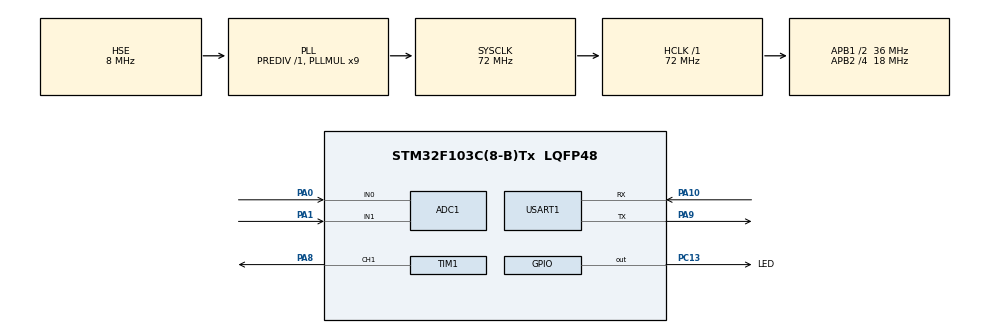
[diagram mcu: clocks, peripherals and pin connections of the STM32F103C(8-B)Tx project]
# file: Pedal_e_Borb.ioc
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ADC1.Channel-0\#ChannelRegularConversion=ADC_CHANNEL_0
ADC1.Channel-1\#ChannelRegularConversion=ADC_CHANNEL_1
ADC1.ContinuousConvMode=ENABLE
ADC1.NbrOfConversion=2
ADC1.NbrOfConversionFlag=1
ADC1.Rank-0\#ChannelRegularConversion=1
ADC1.Rank-1\#ChannelRegularConversion=2
ADC1.SamplingTime-0\#ChannelRegularConversion=ADC_SAMPLETIME_71CYCLES_5
ADC1.SamplingTime-1\#ChannelRegularConversion=ADC_SAMPLETIME_71CYCLES_5
ADC1.master=1
Dma.ADC1.0.Direction=DMA_PERIPH_TO_MEMORY
Dma.ADC1.0.Instance=DMA1_Channel1
Dma.ADC1.0.MemDataAlignment=DMA_MDATAALIGN_HALFWORD
Dma.ADC1.0.MemInc=DMA_MINC_ENABLE
Dma.ADC1.0.Mode=DMA_CIRCULAR
Dma.ADC1.0.PeriphDataAlignment=DMA_PDATAALIGN_HALFWORD
Dma.ADC1.0.PeriphInc=DMA_PINC_DISABLE
Dma.ADC1.0.Priority=DMA_PRIORITY_LOW
Dma.Request0=ADC1
Mcu.Family=STM32F1
Mcu.Name=STM32F103C(8-B)Tx
Mcu.Package=LQFP48
NVIC.DMA1_Channel1_IRQn=true\:0\:0\:false\:false\:true\:false\:true\:true
NVIC.PriorityGroup=NVIC_PRIORITYGROUP_4
PA0-WKUP.Signal=ADCx_IN0
PA1.Signal=ADCx_IN1
PA10.Mode=Asynchronous
PA10.Signal=USART1_RX
PA8.Signal=S_TIM1_CH1
PA9.Mode=Asynchronous
PA9.Signal=USART1_TX
PC13-TAMPER-RTC.GPIO_Label=LED
PC13-TAMPER-RTC.Signal=GPIO_Output
PD0-OSC_IN.Mode=HSE-External-Oscillator
PD0-OSC_IN.Signal=RCC_OSC_IN
PD1-OSC_OUT.Mode=HSE-External-Oscillator
PD1-OSC_OUT.Signal=RCC_OSC_OUT
ProjectManager.HeapSize=0x200
ProjectManager.StackSize=0x400
ProjectManager.TargetToolchain=STM32CubeIDE
RCC.AHBFreq_Value=72000000
RCC.APB1CLKDivider=RCC_HCLK_DIV2
RCC.APB1Freq_Value=36000000
RCC.APB1TimFreq_Value=72000000
RCC.APB2CLKDivider=RCC_HCLK_DIV4
RCC.APB2Freq_Value=18000000
RCC.APB2TimFreq_Value=36000000
RCC.HCLKFreq_Value=72000000
RCC.PLLMUL=RCC_PLL_MUL9
RCC.PLLSourceVirtual=RCC_PLLSOURCE_HSE
RCC.SYSCLKFreq_VALUE=72000000
RCC.SYSCLKSource=RCC_SYSCLKSOURCE_PLLCLK
RCC.USBFreq_Value=72000000
SH.ADCx_IN0.0=ADC1_IN0,IN0
SH.ADCx_IN1.0=ADC1_IN1,IN1
SH.S_TIM1_CH1.0=TIM1_CH1,PWM Generation1 CH1
TIM1.Channel-PWM\ Generation1\ CH1=TIM_CHANNEL_1
TIM1.Period=999
TIM1.Prescaler=71
USART1.VirtualMode=VM_ASYNC
VP_SYS_VS_ND.Mode=No_Debug
VP_TIM1_VS_ClockSourceINT.Mode=Internal
VP_TIM1_VS_ClockSourceITR.Mode=TriggerSource_ITR0
board=custom

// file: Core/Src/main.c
/* USER CODE BEGIN Header */
/**
  ******************************************************************************
  * @file           : main.c
  * @brief          : Main program body
  ******************************************************************************
  * @attention
  *
  * Copyright (c) 2025 STMicroelectronics.
  * All rights reserved.
  *
  * This software is licensed under terms that can be found in the LICENSE file
  * in the root directory of this software component.
  * If no LICENSE file comes with this software, it is provided AS-IS.
  *
  ******************************************************************************
  */
/* USER CODE END Header */
#include "main.h"

/* USER CODE BEGIN Includes */
#include "stdio.h"
#include "string.h"
/* USER CODE END Includes */

/* USER CODE BEGIN PD */
#define alpha 0.5
/* USER CODE END PD */

ADC_HandleTypeDef hadc1;
DMA_HandleTypeDef hdma_adc1;

TIM_HandleTypeDef htim1;

UART_HandleTypeDef huart1;

/* USER CODE BEGIN PV */
uint16_t ADCBuffer[2];
uint16_t pedal1_raw;
uint16_t pedal2_raw;
uint16_t pedal1_filt;
uint16_t pedal2_filt;
float volt_Pedal1;
float volt_Pedal2;
uint16_t Ref_PWM;
float Saida_IIR;
float saida_ant;
float saida_ant2;
float delta_pedal;
char mensagem[50];

/* USER CODE END PV */

void SystemClock_Config(void);
static void MX_GPIO_Init(void);
static void MX_DMA_Init(void);
static void MX_ADC1_Init(void);
static void MX_TIM1_Init(void);
static void MX_USART1_UART_Init(void);

int main(void)
{

  /* MCU Configuration--------------------------------------------------------*/

  /* Reset of all peripherals, Initializes the Flash interface and the Systick. */
  HAL_Init();

  /* Configure the system clock */
  SystemClock_Config();

  /* Initialize all configured peripherals */
  MX_GPIO_Init();
  MX_DMA_Init();
  MX_ADC1_Init();
  MX_TIM1_Init();
  MX_USART1_UART_Init();
  /* USER CODE BEGIN 2 */
  HAL_ADCEx_Calibration_Start(&hadc1);
  // Inicia o ADC no Modo DMA para multiplos canais
  HAL_ADC_Start_DMA(&hadc1, ADCBuffer, 2);
  HAL_TIM_PWM_Start(&htim1, TIM_CHANNEL_1);

  Ref_PWM=100;
  /* USER CODE END 2 */

  /* Infinite loop */
  while (1)
  {

    /* USER CODE BEGIN 3 */
	  //************ PEDAL 1 *******************
	  pedal1_raw = ADCBuffer[0];
	  Saida_IIR = (alpha*(float)ADCBuffer[0])+((1-alpha)*saida_ant);
	  saida_ant = Saida_IIR;
	  pedal1_filt = (uint16_t)(Saida_IIR);
	  volt_Pedal1 = (float)(pedal1_filt*0.0012210012210012);

	  //************ PEDAL 2 *******************
	  pedal2_raw = ADCBuffer[1];
	  Saida_IIR = alpha*(float)ADCBuffer[1]+(1-alpha)*saida_ant2;
	  saida_ant2 = Saida_IIR;
	  pedal2_filt = (uint16_t)(Saida_IIR);
	  volt_Pedal2 = (float)(pedal2_filt*0.0012210012210012);

	  //************* REDEUNDANCIA E PWM **************
	  delta_pedal = volt_Pedal2-volt_Pedal1;
	  if((delta_pedal>1.8)&&(delta_pedal<2.2))
	  {
		  //volt_Pedal1 0.5 até 2 volts
		  Ref_PWM = ((pedal1_filt*(5000/4095))-500)*0.666;
	  }
	  TIM1->CCR1 = Ref_PWM; //Atualiza o valor do comparador

	 //************* ESCREVE NA UART ***********************
	  sprintf(mensagem, "VOLT PEDAL 1 = %.2f\r\n",volt_Pedal1);
	  HAL_UART_Transmit(&huart1, (uint8_t*)mensagem, strlen(mensagem), 50);
	  sprintf(mensagem, "VOLT PEDAL 2 = %.2f\r\n",volt_Pedal2);
	  HAL_UART_Transmit(&huart1, (uint8_t*)mensagem, strlen(mensagem), 50);
	  sprintf(mensagem, "VALOR PWM = %d\r\n",Ref_PWM);
	  HAL_UART_Transmit(&huart1, (uint8_t*)mensagem, strlen(mensagem), 50);
	  sprintf(mensagem, "ADC0 RAW = %d\r\n",pedal1_raw);
	  HAL_UART_Transmit(&huart1, (uint8_t*)mensagem, strlen(mensagem), 50);
	  sprintf(mensagem, "ADC1 RAW = %d\r\n",pedal2_raw);
	  HAL_UART_Transmit(&huart1, (uint8_t*)mensagem, strlen(mensagem), 50);

	  HAL_Delay(200);

  }
  /* USER CODE END 3 */
}

void SystemClock_Config(void)
{
  RCC_OscInitTypeDef RCC_OscInitStruct = {0};
  RCC_ClkInitTypeDef RCC_ClkInitStruct = {0};
  RCC_PeriphCLKInitTypeDef PeriphClkInit = {0};

  /** Initializes the RCC Oscillators according to the specified parameters
  * in the RCC_OscInitTypeDef structure.
  */
  RCC_OscInitStruct.OscillatorType = RCC_OSCILLATORTYPE_HSE;
  RCC_OscInitStruct.HSEState = RCC_HSE_ON;
  RCC_OscInitStruct.HSEPredivValue = RCC_HSE_PREDIV_DIV1;
  RCC_OscInitStruct.HSIState = RCC_HSI_ON;
  RCC_OscInitStruct.PLL.PLLState = RCC_PLL_ON;
  RCC_OscInitStruct.PLL.PLLSource = RCC_PLLSOURCE_HSE;
  RCC_OscInitStruct.PLL.PLLMUL = RCC_PLL_MUL9;
  if (HAL_RCC_OscConfig(&RCC_OscInitStruct) != HAL_OK)
  {
    Error_Handler();
  }

  /** Initializes the CPU, AHB and APB buses clocks
  */
  RCC_ClkInitStruct.ClockType = RCC_CLOCKTYPE_HCLK|RCC_CLOCKTYPE_SYSCLK
                              |RCC_CLOCKTYPE_PCLK1|RCC_CLOCKTYPE_PCLK2;
  RCC_ClkInitStruct.SYSCLKSource = RCC_SYSCLKSOURCE_PLLCLK;
  RCC_ClkInitStruct.AHBCLKDivider = RCC_SYSCLK_DIV1;
  RCC_ClkInitStruct.APB1CLKDivider = RCC_HCLK_DIV2;
  RCC_ClkInitStruct.APB2CLKDivider = RCC_HCLK_DIV4;

  if (HAL_RCC_ClockConfig(&RCC_ClkInitStruct, FLASH_LATENCY_2) != HAL_OK)
  {
    Error_Handler();
  }
  PeriphClkInit.PeriphClockSelection = RCC_PERIPHCLK_ADC;
  PeriphClkInit.AdcClockSelection = RCC_ADCPCLK2_DIV2;
  if (HAL_RCCEx_PeriphCLKConfig(&PeriphClkInit) != HAL_OK)
  {
    Error_Handler();
  }
}

static void MX_ADC1_Init(void)
{

  ADC_ChannelConfTypeDef sConfig = {0};

  /** Common config
  */
  hadc1.Instance = ADC1;
  hadc1.Init.ScanConvMode = ADC_SCAN_ENABLE;
  hadc1.Init.ContinuousConvMode = ENABLE;
  hadc1.Init.DiscontinuousConvMode = DISABLE;
  hadc1.Init.ExternalTrigConv = ADC_SOFTWARE_START;
  hadc1.Init.DataAlign = ADC_DATAALIGN_RIGHT;
  hadc1.Init.NbrOfConversion = 2;
  if (HAL_ADC_Init(&hadc1) != HAL_OK)
  {
    Error_Handler();
  }

  /** Configure Regular Channel
  */
  sConfig.Channel = ADC_CHANNEL_0;
  sConfig.Rank = ADC_REGULAR_RANK_1;
  sConfig.SamplingTime = ADC_SAMPLETIME_71CYCLES_5;
  if (HAL_ADC_ConfigChannel(&hadc1, &sConfig) != HAL_OK)
  {
    Error_Handler();
  }

  /** Configure Regular Channel
  */
  sConfig.Channel = ADC_CHANNEL_1;
  sConfig.Rank = ADC_REGULAR_RANK_2;
  if (HAL_ADC_ConfigChannel(&hadc1, &sConfig) != HAL_OK)
  {
    Error_Handler();
  }

}

static void MX_TIM1_Init(void)
{

  TIM_ClockConfigTypeDef sClockSourceConfig = {0};
  TIM_SlaveConfigTypeDef sSlaveConfig = {0};
  TIM_MasterConfigTypeDef sMasterConfig = {0};
  TIM_OC_InitTypeDef sConfigOC = {0};
  TIM_BreakDeadTimeConfigTypeDef sBreakDeadTimeConfig = {0};

  htim1.Instance = TIM1;
  htim1.Init.Prescaler = 71;
  htim1.Init.CounterMode = TIM_COUNTERMODE_UP;
  htim1.Init.Period = 999;
  htim1.Init.ClockDivision = TIM_CLOCKDIVISION_DIV1;
  htim1.Init.RepetitionCounter = 0;
  htim1.Init.AutoReloadPreload = TIM_AUTORELOAD_PRELOAD_DISABLE;
  if (HAL_TIM_Base_Init(&htim1) != HAL_OK)
  {
    Error_Handler();
  }
  sClockSourceConfig.ClockSource = TIM_CLOCKSOURCE_INTERNAL;
  if (HAL_TIM_ConfigClockSource(&htim1, &sClockSourceConfig) != HAL_OK)
  {
    Error_Handler();
  }
  if (HAL_TIM_PWM_Init(&htim1) != HAL_OK)
  {
    Error_Handler();
  }
  sSlaveConfig.SlaveMode = TIM_SLAVEMODE_DISABLE;
  sSlaveConfig.InputTrigger = TIM_TS_ITR0;
  if (HAL_TIM_SlaveConfigSynchro(&htim1, &sSlaveConfig) != HAL_OK)
  {
    Error_Handler();
  }
  sMasterConfig.MasterOutputTrigger = TIM_TRGO_RESET;
  sMasterConfig.MasterSlaveMode = TIM_MASTERSLAVEMODE_DISABLE;
  if (HAL_TIMEx_MasterConfigSynchronization(&htim1, &sMasterConfig) != HAL_OK)
  {
    Error_Handler();
  }
  sConfigOC.OCMode = TIM_OCMODE_PWM1;
  sConfigOC.Pulse = 0;
  sConfigOC.OCPolarity = TIM_OCPOLARITY_HIGH;
  sConfigOC.OCNPolarity = TIM_OCNPOLARITY_HIGH;
  sConfigOC.OCFastMode = TIM_OCFAST_DISABLE;
  sConfigOC.OCIdleState = TIM_OCIDLESTATE_RESET;
  sConfigOC.OCNIdleState = TIM_OCNIDLESTATE_RESET;
  if (HAL_TIM_PWM_ConfigChannel(&htim1, &sConfigOC, TIM_CHANNEL_1) != HAL_OK)
  {
    Error_Handler();
  }
  sBreakDeadTimeConfig.OffStateRunMode = TIM_OSSR_DISABLE;
  sBreakDeadTimeConfig.OffStateIDLEMode = TIM_OSSI_DISABLE;
  sBreakDeadTimeConfig.LockLevel = TIM_LOCKLEVEL_OFF;
  sBreakDeadTimeConfig.DeadTime = 0;
  sBreakDeadTimeConfig.BreakState = TIM_BREAK_DISABLE;
  sBreakDeadTimeConfig.BreakPolarity = TIM_BREAKPOLARITY_HIGH;
  sBreakDeadTimeConfig.AutomaticOutput = TIM_AUTOMATICOUTPUT_DISABLE;
  if (HAL_TIMEx_ConfigBreakDeadTime(&htim1, &sBreakDeadTimeConfig) != HAL_OK)
  {
    Error_Handler();
  }
  HAL_TIM_MspPostInit(&htim1);

}

static void MX_USART1_UART_Init(void)
{

  huart1.Instance = USART1;
  huart1.Init.BaudRate = 115200;
  huart1.Init.WordLength = UART_WORDLENGTH_8B;
  huart1.Init.StopBits = UART_STOPBITS_1;
  huart1.Init.Parity = UART_PARITY_NONE;
  huart1.Init.Mode = UART_MODE_TX_RX;
  huart1.Init.HwFlowCtl = UART_HWCONTROL_NONE;
  huart1.Init.OverSampling = UART_OVERSAMPLING_16;
  if (HAL_UART_Init(&huart1) != HAL_OK)
  {
    Error_Handler();
  }

}

static void MX_DMA_Init(void)
{

  /* DMA controller clock enable */
  __HAL_RCC_DMA1_CLK_ENABLE();

  /* DMA interrupt init */
  /* DMA1_Channel1_IRQn interrupt configuration */
  HAL_NVIC_SetPriority(DMA1_Channel1_IRQn, 0, 0);
  HAL_NVIC_EnableIRQ(DMA1_Channel1_IRQn);

}

static void MX_GPIO_Init(void)
{
  GPIO_InitTypeDef GPIO_InitStruct = {0};

  /* GPIO Ports Clock Enable */
  __HAL_RCC_GPIOC_CLK_ENABLE();
  __HAL_RCC_GPIOD_CLK_ENABLE();
  __HAL_RCC_GPIOA_CLK_ENABLE();

  /*Configure GPIO pin Output Level */
  HAL_GPIO_WritePin(LED_GPIO_Port, LED_Pin, GPIO_PIN_RESET);

  /*Configure GPIO pin : LED_Pin */
  GPIO_InitStruct.Pin = LED_Pin;
  GPIO_InitStruct.Mode = GPIO_MODE_OUTPUT_PP;
  GPIO_InitStruct.Pull = GPIO_NOPULL;
  GPIO_InitStruct.Speed = GPIO_SPEED_FREQ_LOW;
  HAL_GPIO_Init(LED_GPIO_Port, &GPIO_InitStruct);

}

void Error_Handler(void)
{
  __disable_irq();
  while (1)
  {
  }
}
